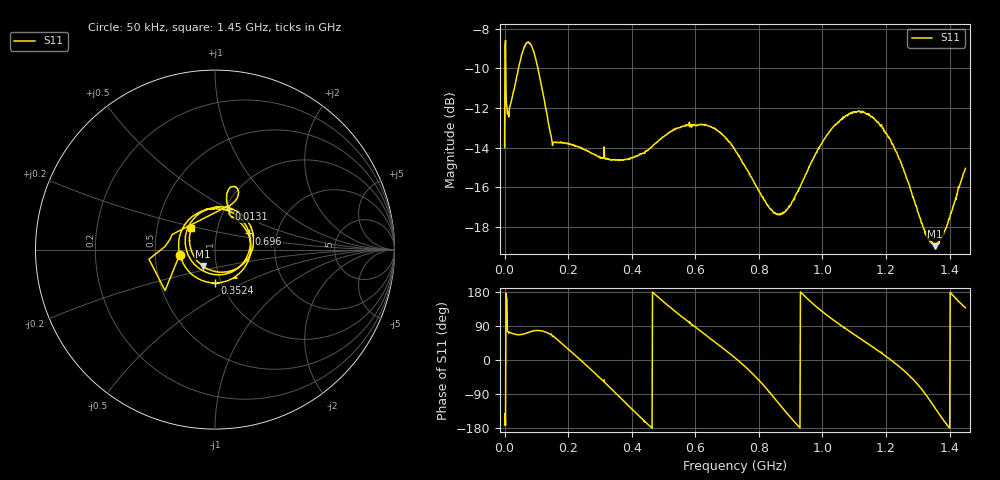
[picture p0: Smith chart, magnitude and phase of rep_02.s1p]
! Created with skrf 1.11.0 (http://scikit-rf.org).
# Hz S RI R 50.0
!freq ReS11 ImS11
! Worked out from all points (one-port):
!   1001 points, 50 kHz to 1.45 GHz, reference 50 ohm
!   lowest |S11| = -19.0 dB at 1.354 GHz (marker M1), VSWR 1.25, Z = 43.1 - j7.93 ohm
!   |S11| at or under -10 dB: start of sweep to 1.184 MHz; 3.754 MHz to 43.66 MHz (39.9 MHz wide, 168 % of centre); 105 MHz to end of sweep
!   S11 on the Smith chart (normalised r, x): 50 kHz: 0.67, -0.04; 13.1 MHz: 1.05, +0.50; 352.4 MHz: 0.93, -0.36; 696 MHz: 1.44, +0.27; 1.45 GHz: 0.75, +0.18
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50000  -0.1974 -0.0299
8749700  0.0586 0.2356
1.309955e7  0.079 0.225
1.599945e7  0.0739 0.2409
3.919865e7  0.1193 0.2794
7.689735e7  0.1052 0.3508
1.087962e8  0.0661 0.2979
1.479449e8  0.0851 0.1916
1.812938e8  0.1509 0.1387
2.59591e8  0.1884 -0.0528
3.523878e8  0.000695 -0.1858
3.625375e8  -0.0258 -0.1844
4.582342e8  -0.1985 -0.0166
5.437812e8  -0.1239 0.1862
6.191786e8  0.0602 0.22
6.96026e8  0.1901 0.0899
7.25025e8  0.1962 0.0191
8.178218e8  0.0519 -0.1377
8.627702e8  -0.0562 -0.1237
9.062688e8  -0.1356 -0.0553
9.86016e8  -0.1458 0.1336
1.035314e9  -0.0604 0.2174
1.087512e9  0.0632 0.2346
1.181759e9  0.2116 0.0808
1.268756e9  0.1302 -0.0996
1.354303e9  -0.0667 -0.0909
1.403602e9  -0.1364 0.0064
1.45e9  -0.1314 0.1186
